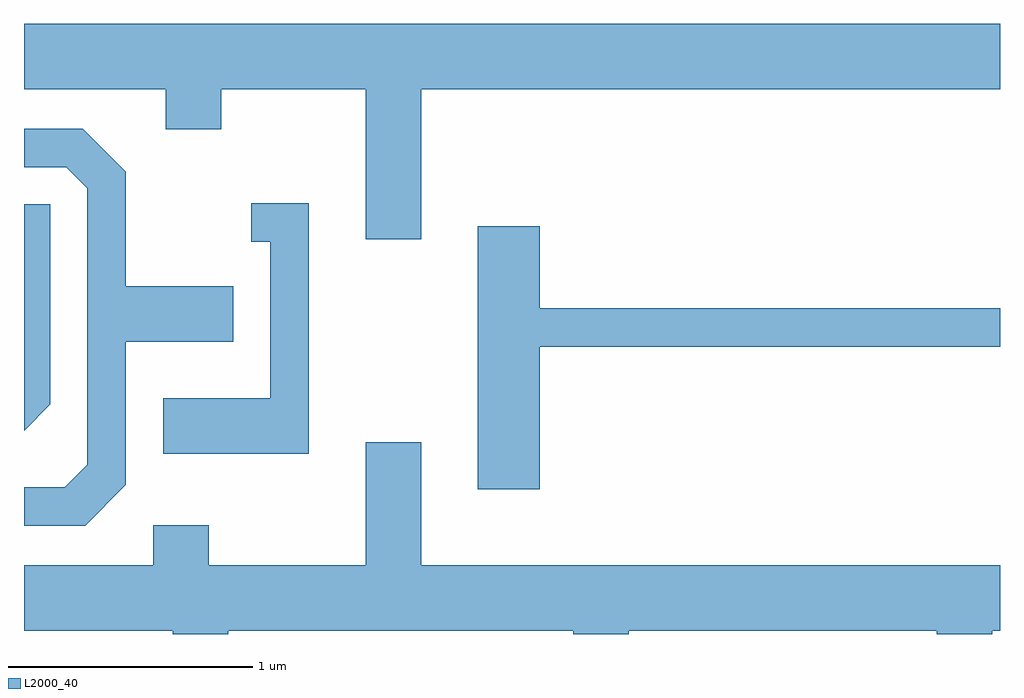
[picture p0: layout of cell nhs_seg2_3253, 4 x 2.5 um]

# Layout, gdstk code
import gdstk
lib = gdstk.Library(unit=1e-6, precision=1e-09)
def P(c, l, *ps):  # polygons
    for p in ps: c.add(gdstk.Polygon(p, *l))
L2000_40 = (2000, 40)

nhs_seg2_3253 = lib.new_cell('nhs_seg2_3253')
P(nhs_seg2_3253, L2000_40, [(281.239,1106.036),(283.611,1106.036),(283.611,1106.304),(279.611,1106.304),(279.611,1106.036),(280.191,1106.036),(280.191,1105.871),(280.419,1105.871),(280.419,1106.036),(281.011,1106.036),(281.011,1105.421),(281.239,1105.421)],
  [(280.029,1104.414),(280.029,1105.001),(280.469,1105.001),(280.469,1105.229),(280.029,1105.229),(280.029,1105.697),(279.852,1105.874),(279.611,1105.874),(279.611,1105.716),(279.784,1105.716),(279.871,1105.629),(279.871,1104.497),(279.779,1104.404),(279.611,1104.404),(279.611,1104.246),(279.862,1104.246)],
  [(280.779,1105.569),(280.543,1105.569),(280.543,1105.411),(280.621,1105.411),(280.621,1104.769),(280.181,1104.769),(280.181,1104.541),(280.779,1104.541)],
  [(279.719,1104.744),(279.719,1105.564),(279.611,1105.564),(279.611,1104.635)],
  [(281.724,1104.981),(283.611,1104.981),(283.611,1105.139),(281.724,1105.139),(281.724,1105.474),(281.471,1105.474),(281.471,1104.396),(281.724,1104.396)],
  [(280.449,1103.816),(281.861,1103.816),(281.861,1103.802),(282.089,1103.802),(282.089,1103.816),(283.351,1103.816),(283.351,1103.802),(283.579,1103.802),(283.579,1103.816),(283.611,1103.816),(283.611,1104.084),(281.239,1104.084),(281.239,1104.589),(281.011,1104.589),(281.011,1104.084),(280.369,1104.084),(280.369,1104.249),(280.141,1104.249),(280.141,1104.084),(279.611,1104.084),(279.611,1103.816),(280.221,1103.816),(280.221,1103.802),(280.449,1103.802)])

lib.write_gds('nhs_seg2_3253.gds')
